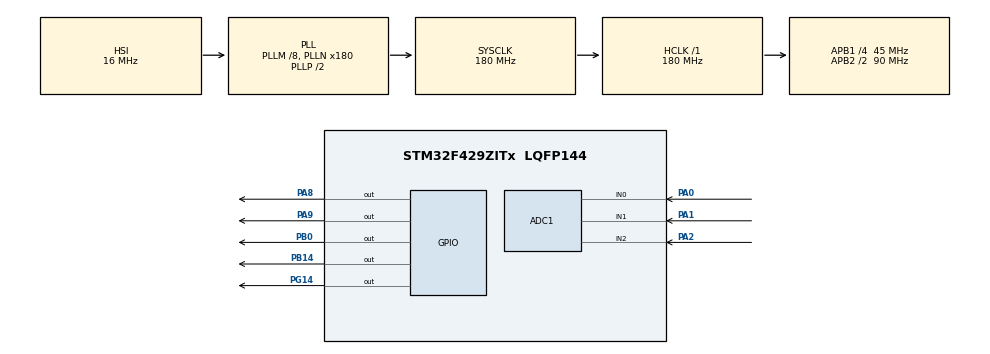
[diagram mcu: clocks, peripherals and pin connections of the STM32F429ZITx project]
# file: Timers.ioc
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ADC1.Channel-1\#ChannelRegularConversion=ADC_CHANNEL_0
ADC1.Channel-2\#ChannelRegularConversion=ADC_CHANNEL_1
ADC1.Channel-3\#ChannelRegularConversion=ADC_CHANNEL_2
ADC1.ContinuousConvMode=ENABLE
ADC1.DMAContinuousRequests=ENABLE
ADC1.DiscontinuousConvMode=DISABLE
ADC1.EOCSelection=ADC_EOC_SEQ_CONV
ADC1.EnableAnalogWatchDog=true
ADC1.HighThreshold=2200
ADC1.ITMode=ENABLE
ADC1.InjNumberOfConversion=0
ADC1.LowThreshold=2100
ADC1.NbrOfConversion=3
ADC1.NbrOfConversionFlag=1
ADC1.Rank-1\#ChannelRegularConversion=1
ADC1.Rank-2\#ChannelRegularConversion=2
ADC1.Rank-3\#ChannelRegularConversion=3
ADC1.SamplingTime-1\#ChannelRegularConversion=ADC_SAMPLETIME_28CYCLES
ADC1.SamplingTime-2\#ChannelRegularConversion=ADC_SAMPLETIME_28CYCLES
ADC1.SamplingTime-3\#ChannelRegularConversion=ADC_SAMPLETIME_28CYCLES
ADC1.ScanConvMode=ENABLE
ADC1.WatchdogMode=ADC_ANALOGWATCHDOG_ALL_REG
ADC1.master=1
Dma.ADC1.0.Direction=DMA_PERIPH_TO_MEMORY
Dma.ADC1.0.FIFOMode=DMA_FIFOMODE_DISABLE
Dma.ADC1.0.Instance=DMA2_Stream0
Dma.ADC1.0.MemDataAlignment=DMA_MDATAALIGN_HALFWORD
Dma.ADC1.0.MemInc=DMA_MINC_ENABLE
Dma.ADC1.0.Mode=DMA_CIRCULAR
Dma.ADC1.0.PeriphDataAlignment=DMA_PDATAALIGN_HALFWORD
Dma.ADC1.0.PeriphInc=DMA_PINC_DISABLE
Dma.ADC1.0.Priority=DMA_PRIORITY_LOW
Dma.Request0=ADC1
Mcu.Family=STM32F4
Mcu.Name=STM32F429ZITx
Mcu.Package=LQFP144
NVIC.ADC_IRQn=true\:0\:0\:false\:false\:true\:true\:true\:true
NVIC.DMA2_Stream0_IRQn=true\:0\:0\:false\:false\:true\:false\:true\:true
NVIC.PriorityGroup=NVIC_PRIORITYGROUP_4
NVIC.TIM1_CC_IRQn=true\:0\:0\:false\:false\:true\:true\:true\:true
NVIC.TIM6_DAC_IRQn=true\:0\:0\:false\:false\:true\:true\:true\:true
PA0/WKUP.Signal=ADCx_IN0
PA1.Signal=ADCx_IN1
PA13.Mode=Serial_Wire
PA13.Signal=SYS_JTMS-SWDIO
PA14.Mode=Serial_Wire
PA14.Signal=SYS_JTCK-SWCLK
PA2.Signal=ADCx_IN2
PA8.Signal=GPIO_Output
PA9.Signal=GPIO_Output
PB0.Signal=GPIO_Output
PB14.Signal=GPIO_Output
PG14.Signal=GPIO_Output
PH0/OSC_IN.Mode=HSE-External-Oscillator
PH0/OSC_IN.Signal=RCC_OSC_IN
PH1/OSC_OUT.Mode=HSE-External-Oscillator
PH1/OSC_OUT.Signal=RCC_OSC_OUT
ProjectManager.HeapSize=0x200
ProjectManager.StackSize=0x400
ProjectManager.TargetToolchain=STM32CubeIDE
RCC.48MHZClocksFreq_Value=90000000
RCC.AHBFreq_Value=180000000
RCC.APB1CLKDivider=RCC_HCLK_DIV4
RCC.APB1Freq_Value=45000000
RCC.APB1TimFreq_Value=90000000
RCC.APB2CLKDivider=RCC_HCLK_DIV2
RCC.APB2Freq_Value=90000000
RCC.APB2TimFreq_Value=180000000
RCC.CortexFreq_Value=180000000
RCC.HCLKFreq_Value=180000000
RCC.HSE_VALUE=25000000
RCC.HSI_VALUE=16000000
RCC.LSE_VALUE=32768
RCC.PLLM=8
RCC.PLLN=180
RCC.SYSCLKFreq_VALUE=180000000
RCC.SYSCLKSource=RCC_SYSCLKSOURCE_PLLCLK
RCC.VCOOutputFreq_Value=360000000
SH.ADCx_IN0.0=ADC1_IN0,IN0
SH.ADCx_IN1.0=ADC1_IN1,IN1
SH.ADCx_IN2.0=ADC1_IN2,IN2
TIM1.Channel-PWM\ Generation1\ No\ Output=TIM_CHANNEL_1
TIM1.OCMode_PWM-PWM\ Generation1\ No\ Output=TIM_OCMODE_PWM1
TIM1.Period=35999
TIM1.Prescaler=74
TIM1.Pulse-PWM\ Generation1\ No\ Output=0
TIM2.Period=359999
TIM2.Prescaler=74
TIM6.Period=1220
TIM6.Prescaler=74
VP_TIM1_VS_ClockSourceINT.Mode=Internal
VP_TIM1_VS_no_output1.Mode=PWM Generation1 No Output
VP_TIM2_VS_ClockSourceINT.Mode=Internal
VP_TIM6_VS_ClockSourceINT.Mode=Enable_Timer
board=custom

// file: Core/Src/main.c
/* USER CODE BEGIN Header */
/**
  ******************************************************************************
  * @file           : main.c
  * @brief          : Main program body
  ******************************************************************************
  * @attention
  *
  * Copyright (c) 2025 STMicroelectronics.
  * All rights reserved.
  *
  * This software is licensed under terms that can be found in the LICENSE file
  * in the root directory of this software component.
  * If no LICENSE file comes with this software, it is provided AS-IS.
  *
  ******************************************************************************
  */
/* USER CODE END Header */
#include "main.h"

/* USER CODE BEGIN Includes */
#include "timer_utils.h"
/* USER CODE END Includes */

/* USER CODE BEGIN PD */
#define THRESHOLD 2200
/* USER CODE END PD */

ADC_HandleTypeDef hadc1;
DMA_HandleTypeDef hdma_adc1;
ADC_AnalogWDGConfTypeDef AnalogWDGConfig = {0};
TIM_HandleTypeDef htim1;
TIM_HandleTypeDef htim2;
TIM_HandleTypeDef htim6;

void SystemClock_Config(void);
static void MX_GPIO_Init(void);
static void MX_DMA_Init(void);
static void MX_TIM1_Init(void);
static void MX_ADC1_Init(void);
static void MX_TIM6_Init(void);
static void MX_TIM2_Init(void);
/* USER CODE BEGIN PFP */
void start_Tim6(TIM_HandleTypeDef* htim1, TIM_HandleTypeDef* htim6);
void UpdatePhaseAngleControl(ADC_AnalogWDGConfTypeDef* AnalogWDGConfig,
							 TIM_HandleTypeDef* htim,
							 uint16_t* valueADC_ch,
							 uint16_t size);
void StartPulseSequence(TIM_HandleTypeDef* htim1, TIM_HandleTypeDef* htim6, uint16_t size);
/* USER CODE END PFP */

int main(void)
{

  /* MCU Configuration--------------------------------------------------------*/

  /* Reset of all peripherals, Initializes the Flash interface and the Systick. */
  HAL_Init();

  /* Configure the system clock */
  SystemClock_Config();

  /* Initialize all configured peripherals */
  MX_GPIO_Init();
  MX_DMA_Init();
  MX_TIM1_Init();
  MX_ADC1_Init();
  MX_TIM6_Init();
  MX_TIM2_Init();
  /* USER CODE BEGIN 2 */
  HAL_ADC_Start_DMA(&hadc1, (uint32_t*)&valueADC_ch, ADC_CHANNELS_NUM); // Запускаем DMA для ADC1

  HAL_TIM_Base_Start_IT(&htim1);
  HAL_TIM_PWM_Start_IT(&htim1, TIM_CHANNEL_1);

  /* USER CODE END 2 */

  /* Infinite loop */
  while (1)
  {

  }
}

void SystemClock_Config(void)
{
  RCC_OscInitTypeDef RCC_OscInitStruct = {0};
  RCC_ClkInitTypeDef RCC_ClkInitStruct = {0};

  /** Configure the main internal regulator output voltage
  */
  __HAL_RCC_PWR_CLK_ENABLE();
  __HAL_PWR_VOLTAGESCALING_CONFIG(PWR_REGULATOR_VOLTAGE_SCALE1);

  /** Initializes the RCC Oscillators according to the specified parameters
  * in the RCC_OscInitTypeDef structure.
  */
  RCC_OscInitStruct.OscillatorType = RCC_OSCILLATORTYPE_HSI;
  RCC_OscInitStruct.HSIState = RCC_HSI_ON;
  RCC_OscInitStruct.HSICalibrationValue = RCC_HSICALIBRATION_DEFAULT;
  RCC_OscInitStruct.PLL.PLLState = RCC_PLL_ON;
  RCC_OscInitStruct.PLL.PLLSource = RCC_PLLSOURCE_HSI;
  RCC_OscInitStruct.PLL.PLLM = 8;
  RCC_OscInitStruct.PLL.PLLN = 180;
  RCC_OscInitStruct.PLL.PLLP = RCC_PLLP_DIV2;
  RCC_OscInitStruct.PLL.PLLQ = 4;
  if (HAL_RCC_OscConfig(&RCC_OscInitStruct) != HAL_OK)
  {
    Error_Handler();
  }

  /** Activate the Over-Drive mode
  */
  if (HAL_PWREx_EnableOverDrive() != HAL_OK)
  {
    Error_Handler();
  }

  /** Initializes the CPU, AHB and APB buses clocks
  */
  RCC_ClkInitStruct.ClockType = RCC_CLOCKTYPE_HCLK|RCC_CLOCKTYPE_SYSCLK
                              |RCC_CLOCKTYPE_PCLK1|RCC_CLOCKTYPE_PCLK2;
  RCC_ClkInitStruct.SYSCLKSource = RCC_SYSCLKSOURCE_PLLCLK;
  RCC_ClkInitStruct.AHBCLKDivider = RCC_SYSCLK_DIV1;
  RCC_ClkInitStruct.APB1CLKDivider = RCC_HCLK_DIV4;
  RCC_ClkInitStruct.APB2CLKDivider = RCC_HCLK_DIV2;

  if (HAL_RCC_ClockConfig(&RCC_ClkInitStruct, FLASH_LATENCY_5) != HAL_OK)
  {
    Error_Handler();
  }
}

static void MX_ADC1_Init(void)
{

  ADC_ChannelConfTypeDef sConfig = {0};

  /** Configure the global features of the ADC (Clock, Resolution, Data Alignment and number of conversion)
  */
  hadc1.Instance = ADC1;
  hadc1.Init.ClockPrescaler = ADC_CLOCK_SYNC_PCLK_DIV4;
  hadc1.Init.Resolution = ADC_RESOLUTION_12B;
  hadc1.Init.ScanConvMode = ENABLE;
  hadc1.Init.ContinuousConvMode = ENABLE;
  hadc1.Init.DiscontinuousConvMode = DISABLE;
  hadc1.Init.ExternalTrigConvEdge = ADC_EXTERNALTRIGCONVEDGE_NONE;
  hadc1.Init.ExternalTrigConv = ADC_SOFTWARE_START;
  hadc1.Init.DataAlign = ADC_DATAALIGN_RIGHT;
  hadc1.Init.NbrOfConversion = 3;
  hadc1.Init.DMAContinuousRequests = ENABLE;
  hadc1.Init.EOCSelection = ADC_EOC_SEQ_CONV;
  if (HAL_ADC_Init(&hadc1) != HAL_OK)
  {
    Error_Handler();
  }

  /** Configure the analog watchdog
  */
  AnalogWDGConfig.WatchdogMode = ADC_ANALOGWATCHDOG_ALL_REG;
  AnalogWDGConfig.HighThreshold = 2200;
  AnalogWDGConfig.LowThreshold = 1900;
  AnalogWDGConfig.ITMode = ENABLE;
  if (HAL_ADC_AnalogWDGConfig(&hadc1, &AnalogWDGConfig) != HAL_OK)
  {
    Error_Handler();
  }

  /** Configure for the selected ADC regular channel its corresponding rank in the sequencer and its sample time.
  */
  sConfig.Channel = ADC_CHANNEL_0;
  sConfig.Rank = 1;
  sConfig.SamplingTime = ADC_SAMPLETIME_28CYCLES;
  if (HAL_ADC_ConfigChannel(&hadc1, &sConfig) != HAL_OK)
  {
    Error_Handler();
  }

  /** Configure for the selected ADC regular channel its corresponding rank in the sequencer and its sample time.
  */
  sConfig.Channel = ADC_CHANNEL_1;
  sConfig.Rank = 2;
  if (HAL_ADC_ConfigChannel(&hadc1, &sConfig) != HAL_OK)
  {
    Error_Handler();
  }

  /** Configure for the selected ADC regular channel its corresponding rank in the sequencer and its sample time.
  */
  sConfig.Channel = ADC_CHANNEL_2;
  sConfig.Rank = 3;
  if (HAL_ADC_ConfigChannel(&hadc1, &sConfig) != HAL_OK)
  {
    Error_Handler();
  }

}

static void MX_TIM1_Init(void)
{

  TIM_ClockConfigTypeDef sClockSourceConfig = {0};
  TIM_MasterConfigTypeDef sMasterConfig = {0};
  TIM_OC_InitTypeDef sConfigOC = {0};
  TIM_BreakDeadTimeConfigTypeDef sBreakDeadTimeConfig = {0};

  htim1.Instance = TIM1;
  htim1.Init.Prescaler = 200; //74 1799
  htim1.Init.CounterMode = TIM_COUNTERMODE_UP;
  htim1.Init.Period = 8999; // 47999 1999
  htim1.Init.ClockDivision = TIM_CLOCKDIVISION_DIV1;
  htim1.Init.RepetitionCounter = 0;
  htim1.Init.AutoReloadPreload = TIM_AUTORELOAD_PRELOAD_DISABLE;
  if (HAL_TIM_Base_Init(&htim1) != HAL_OK)
  {
    Error_Handler();
  }
  sClockSourceConfig.ClockSource = TIM_CLOCKSOURCE_INTERNAL;
  if (HAL_TIM_ConfigClockSource(&htim1, &sClockSourceConfig) != HAL_OK)
  {
    Error_Handler();
  }
  if (HAL_TIM_PWM_Init(&htim1) != HAL_OK)
  {
    Error_Handler();
  }
  sMasterConfig.MasterOutputTrigger = TIM_TRGO_RESET;
  sMasterConfig.MasterSlaveMode = TIM_MASTERSLAVEMODE_DISABLE;
  if (HAL_TIMEx_MasterConfigSynchronization(&htim1, &sMasterConfig) != HAL_OK)
  {
    Error_Handler();
  }
  sConfigOC.OCMode = TIM_OCMODE_PWM1;
  sConfigOC.Pulse = 10;
  sConfigOC.OCPolarity = TIM_OCPOLARITY_HIGH;
  sConfigOC.OCNPolarity = TIM_OCNPOLARITY_HIGH;
  sConfigOC.OCFastMode = TIM_OCFAST_DISABLE;
  sConfigOC.OCIdleState = TIM_OCIDLESTATE_RESET;
  sConfigOC.OCNIdleState = TIM_OCNIDLESTATE_RESET;
  if (HAL_TIM_PWM_ConfigChannel(&htim1, &sConfigOC, TIM_CHANNEL_1) != HAL_OK)
  {
    Error_Handler();
  }
  sBreakDeadTimeConfig.OffStateRunMode = TIM_OSSR_DISABLE;
  sBreakDeadTimeConfig.OffStateIDLEMode = TIM_OSSI_DISABLE;
  sBreakDeadTimeConfig.LockLevel = TIM_LOCKLEVEL_OFF;
  sBreakDeadTimeConfig.DeadTime = 0;
  sBreakDeadTimeConfig.BreakState = TIM_BREAK_DISABLE;
  sBreakDeadTimeConfig.BreakPolarity = TIM_BREAKPOLARITY_HIGH;
  sBreakDeadTimeConfig.AutomaticOutput = TIM_AUTOMATICOUTPUT_DISABLE;
  if (HAL_TIMEx_ConfigBreakDeadTime(&htim1, &sBreakDeadTimeConfig) != HAL_OK)
  {
    Error_Handler();
  }

}

static void MX_TIM2_Init(void)
{

  TIM_ClockConfigTypeDef sClockSourceConfig = {0};
  TIM_MasterConfigTypeDef sMasterConfig = {0};

  htim2.Instance = TIM2;
  htim2.Init.Prescaler = 74;
  htim2.Init.CounterMode = TIM_COUNTERMODE_UP;
  htim2.Init.Period = 35999;
  htim2.Init.ClockDivision = TIM_CLOCKDIVISION_DIV1;
  htim2.Init.AutoReloadPreload = TIM_AUTORELOAD_PRELOAD_DISABLE;
  if (HAL_TIM_Base_Init(&htim2) != HAL_OK)
  {
    Error_Handler();
  }
  sClockSourceConfig.ClockSource = TIM_CLOCKSOURCE_INTERNAL;
  if (HAL_TIM_ConfigClockSource(&htim2, &sClockSourceConfig) != HAL_OK)
  {
    Error_Handler();
  }
  sMasterConfig.MasterOutputTrigger = TIM_TRGO_RESET;
  sMasterConfig.MasterSlaveMode = TIM_MASTERSLAVEMODE_DISABLE;
  if (HAL_TIMEx_MasterConfigSynchronization(&htim2, &sMasterConfig) != HAL_OK)
  {
    Error_Handler();
  }

}

static void MX_TIM6_Init(void)
{

  TIM_MasterConfigTypeDef sMasterConfig = {0};

  htim6.Instance = TIM6;
  htim6.Init.Prescaler = 179;
  htim6.Init.CounterMode = TIM_COUNTERMODE_UP;
  htim6.Init.Period = 499;
  htim6.Init.AutoReloadPreload = TIM_AUTORELOAD_PRELOAD_DISABLE;
  if (HAL_TIM_Base_Init(&htim6) != HAL_OK)
  {
    Error_Handler();
  }
  sMasterConfig.MasterOutputTrigger = TIM_TRGO_RESET;
  sMasterConfig.MasterSlaveMode = TIM_MASTERSLAVEMODE_DISABLE;
  if (HAL_TIMEx_MasterConfigSynchronization(&htim6, &sMasterConfig) != HAL_OK)
  {
    Error_Handler();
  }

}

static void MX_DMA_Init(void)
{

  /* DMA controller clock enable */
  __HAL_RCC_DMA2_CLK_ENABLE();

  /* DMA interrupt init */
  /* DMA2_Stream0_IRQn interrupt configuration */
  HAL_NVIC_SetPriority(DMA2_Stream0_IRQn, 0, 0);
  HAL_NVIC_EnableIRQ(DMA2_Stream0_IRQn);

}

static void MX_GPIO_Init(void)
{
  GPIO_InitTypeDef GPIO_InitStruct = {0};

  /* GPIO Ports Clock Enable */
  __HAL_RCC_GPIOH_CLK_ENABLE();
  __HAL_RCC_GPIOA_CLK_ENABLE();
  __HAL_RCC_GPIOB_CLK_ENABLE();
  __HAL_RCC_GPIOG_CLK_ENABLE();

  /*Configure GPIO pin Output Level */
  HAL_GPIO_WritePin(GPIOB, GPIO_PIN_0|GPIO_PIN_14, GPIO_PIN_RESET);

  /*Configure GPIO pin Output Level */
  HAL_GPIO_WritePin(GPIOA, GPIO_PIN_8|GPIO_PIN_9, GPIO_PIN_RESET);

  /*Configure GPIO pin Output Level */
  HAL_GPIO_WritePin(GPIOG, GPIO_PIN_14, GPIO_PIN_RESET);

  /*Configure GPIO pins : PB0 PB14 */
  GPIO_InitStruct.Pin = GPIO_PIN_0|GPIO_PIN_14;
  GPIO_InitStruct.Mode = GPIO_MODE_OUTPUT_PP;
  GPIO_InitStruct.Pull = GPIO_NOPULL;
  GPIO_InitStruct.Speed = GPIO_SPEED_FREQ_LOW;
  HAL_GPIO_Init(GPIOB, &GPIO_InitStruct);

  /*Configure GPIO pins : PA8 PA9 */
  GPIO_InitStruct.Pin = GPIO_PIN_8|GPIO_PIN_9;
  GPIO_InitStruct.Mode = GPIO_MODE_OUTPUT_PP;
  GPIO_InitStruct.Pull = GPIO_NOPULL;
  GPIO_InitStruct.Speed = GPIO_SPEED_FREQ_LOW;
  HAL_GPIO_Init(GPIOA, &GPIO_InitStruct);

  /*Configure GPIO pin : PG14 */
  GPIO_InitStruct.Pin = GPIO_PIN_14;
  GPIO_InitStruct.Mode = GPIO_MODE_OUTPUT_PP;
  GPIO_InitStruct.Pull = GPIO_NOPULL;
  GPIO_InitStruct.Speed = GPIO_SPEED_FREQ_LOW;
  HAL_GPIO_Init(GPIOG, &GPIO_InitStruct);

}

/* USER CODE BEGIN 4 */

void HAL_TIM_PeriodElapsedCallback(TIM_HandleTypeDef *htim){
	/** III. TIM6 **/
	if(htim->Instance == TIM6){
		HAL_GPIO_WritePin(GPIOA, GPIO_PIN_8 | GPIO_PIN_9, 0);
		HAL_GPIO_WritePin(GPIOB, GPIO_PIN_14, 0);
		HAL_TIM_Base_Stop_IT(&htim6);

		//StartPulseSequence(&htim1, &htim6, ADC_CHANNELS_NUM);
	}
}

void HAL_ADC_LevelOutOfWindowCallback(ADC_HandleTypeDef *hadc) {
    if (hadc == &hadc1 && __HAL_ADC_GET_FLAG(hadc, ADC_FLAG_AWD)) {
    /** I. WatchDog **/
    	UpdatePhaseAngleControl(&AnalogWDGConfig,&htim1, valueADC_ch, ADC_CHANNELS_NUM);
		__HAL_ADC_CLEAR_FLAG(hadc, ADC_FLAG_AWD);
    }
}

void HAL_TIM_OC_DelayElapsedCallback(TIM_HandleTypeDef *htim){
	if(htim->Instance == TIM1){
	/** II. TIM1 **/
	StartPulseSequence(&htim1, &htim6, ADC_CHANNELS_NUM);
	}
}
/* USER CODE END 4 */

void Error_Handler(void)
{
  __disable_irq();
  while (1)
  {
  }
}
